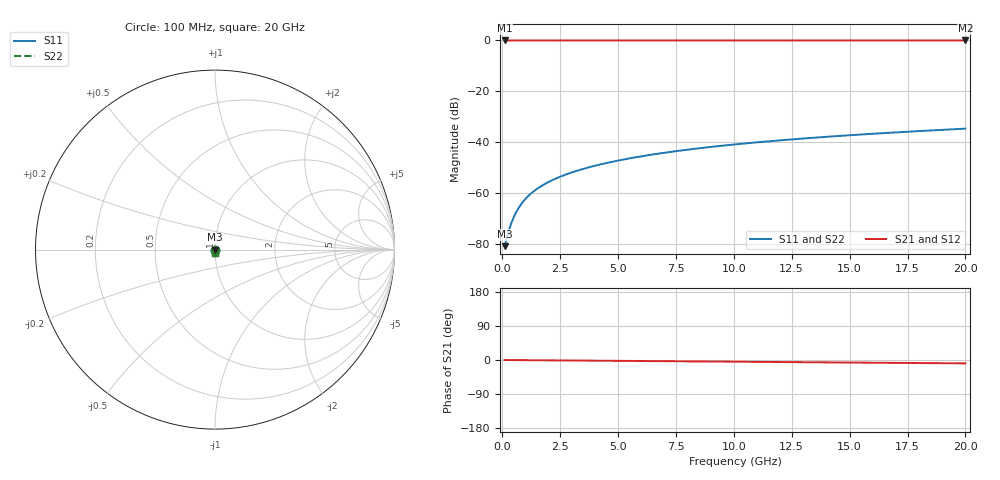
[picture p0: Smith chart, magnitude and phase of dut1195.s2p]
! Touchstone file exported from HFSS 2026.1.0
!  File:  C:/ffzhzh/LocalFiles/Ansys_Project_Files/temp_train_TSV_1195_1783192515_22436.aedt
!  Generated:  03:16:44 AM Jul  5, 2026
!  Design:  TSV
!  Project:  temp_train_TSV_1195_1783192515_22436
! Variables:
!  h_bsmrdl = 2um
!  h_ox = 20um
!  h_rdl = 5um
!  h_sub = 89.09um
!  h_tmrdl = 5um
!  h_tsv = 89.09um
!  h_via = 3um
!  l_bsmrdl = 300um
!  l_sub = 429.7um
!  l_tmrdl = 200um
!  m_sub = 200um
!  pitch = 52.73um
!  r_tsv = 14.85um
!  s_tmrdl = 10um
!  w_bsmrdl = 18um
!  w_sub = 500um
!  w_tmrdl = 12um
!  x_tsv_center1 = 206um
!  x_tsv_center2 = 524um
!  x_tsv_center3 = 736um
!  x_tsv_center4 = 1054um
!  x_tsv_center5 = 1266um
!  x_tsv_center6 = 1584um
# GHz S MA R 50.000000
! Terminal data exported
! Port[1] = TSV1_1_T1
! Port[2] = TSV1_1_T2
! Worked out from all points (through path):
!   200 points, 100 MHz to 20 GHz, reference 50 ohm
!   highest |S21| = 0.00 dB at 100 MHz (marker M1); lowest = 0.0 dB at 20 GHz (marker M2)
!   group delay of S21, straight-line fit = 1.24 ps
!   lowest |S11| = -80.8 dB at 100 MHz (marker M3), VSWR 1.00, Z = 50 - j0.00472 ohm
!   |S11| at or under -10 dB: start of sweep to end of sweep
!   |S22| runs from -80.8 to -34.6 dB; largest |S21 - S12| = 6.1e-15
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0.1  9.164e-05 -31.0  0.9999 -0.0  0.9999 -0.0  9.164e-05 -31.0
! Gamma 0 0 0 0
! Port Impedance 50 0 50 0
0.2  0.0001366 -46.4  0.9999 -0.1  0.9999 -0.1  0.0001366 -46.4
0.3  0.0001963 -53.7  0.9999 -0.1  0.9999 -0.1  0.0001963 -53.7
0.4  0.0002662 -57.9  0.9999 -0.2  0.9999 -0.2  0.0002662 -57.9
0.5  0.0003433 -60.9  0.9998 -0.2  0.9998 -0.2  0.0003433 -60.9
0.6  0.0004253 -63.4  0.9998 -0.3  0.9998 -0.3  0.0004253 -63.4
0.8  0.0005977 -67.4  0.9998 -0.4  0.9998 -0.4  0.0005977 -67.4
1.1  0.0008644 -71.8  0.9997 -0.5  0.9997 -0.5  0.0008644 -71.8
1.3  0.001043 -73.9  0.9997 -0.6  0.9997 -0.6  0.001043 -73.9
1.5  0.001222 -75.6  0.9997 -0.7  0.9997 -0.7  0.001222 -75.6
1.8  0.001491 -77.6  0.9997 -0.8  0.9997 -0.8  0.001491 -77.6
2.1  0.001759 -79.1  0.9996 -0.9  0.9996 -0.9  0.001759 -79.1
2.7  0.002296 -81.2  0.9996 -1.2  0.9996 -1.2  0.002296 -81.2
3.5  0.003017 -83.0  0.9995 -1.6  0.9995 -1.6  0.003017 -83.0
4.2  0.003654 -84.2  0.9995 -1.9  0.9995 -1.9  0.003654 -84.2
5  0.004388 -85.2  0.9995 -2.2  0.9995 -2.2  0.004388 -85.2
6.8  0.006059 -87.1  0.9994 -3.0  0.9994 -3.0  0.006059 -87.1
8.3  0.007464 -88.3  0.9993 -3.7  0.9993 -3.7  0.007464 -88.3
10.1  0.009158 -89.7  0.9992 -4.5  0.9992 -4.5  0.009158 -89.7
13.4  0.01228 -91.9  0.999 -6.0  0.999 -6.0  0.01228 -91.9
16.7  0.01541 -93.8  0.9989 -7.4  0.9989 -7.4  0.01541 -93.8
20  0.01856 -95.6  0.9987 -8.9  0.9987 -8.9  0.01856 -95.6
